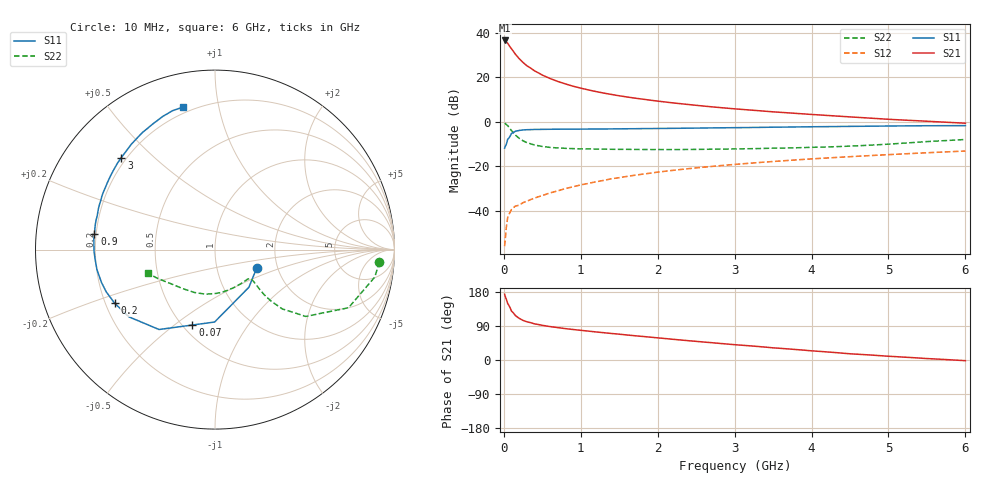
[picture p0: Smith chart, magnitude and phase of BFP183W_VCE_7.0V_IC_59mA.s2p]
! Infineon Technologies  Discrete & RF Semiconductors
! BFP183W
! VCE =  7.0 V,  IC =  59 mA
! Common Emitter S-Parameters:  Jan 2017
# GHz  S  MA  R  50
!  f  S11  S21  S12  S22
! GHz  MAG  ANG  MAG  ANG  MAG  ANG  MAG  ANG
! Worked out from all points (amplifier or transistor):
!   77 points, 10 MHz to 6 GHz, reference 50 ohm
!   highest |S21| = 36.4 dB at 10 MHz (marker M1)
!   |S21| within 3 dB of that: start of sweep to 83.63 MHz
!   unconditionally stable (mu >= 1): 534.8 MHz to 3.465 GHz
!   at 130 MHz: K = 0.44, MSG = 34.9 dB, |S12| = -38.5 dB
!   at 2.2 GHz: K = 1.09, MAG = 13.3 dB, |S12| = -21.9 dB
!   at 6 GHz: K = 0.85, MSG = 6.2 dB, |S12| = -13.2 dB
!   S11 on the Smith chart (normalised r, x): 10 MHz: 1.56, -0.34; 70 MHz: 0.56, -0.58; 200 MHz: 0.24, -0.24; 900 MHz: 0.19, +0.06; 3 GHz: 0.18, +0.40; 6 GHz: 0.17, +0.79
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0.01  0.254 -24.0  66.37 173.6  0.0016 81.7  0.919 -4.3
0.02  0.2823 -47.9  64.8 166.6  0.0024 86.2  0.9031 -9.8
0.05  0.4035 -90.3  57.33 149.1  0.007 66.0  0.8116 -23.5
0.07  0.4387 -106.7  50.88 142.4  0.0085 62.0  0.7338 -27.9
0.1  0.5436 -125.0  42.98 128.9  0.0107 58.0  0.6276 -36.4
0.15  0.6086 -142.0  32.62 117.3  0.0127 48.4  0.4998 -41.4
0.2  0.6339 -151.9  25.82 109.8  0.0133 51.2  0.4213 -42.6
0.25  0.6502 -158.8  21.25 104.5  0.0152 51.0  0.3708 -42.5
0.3  0.6583 -163.8  17.97 100.8  0.0164 50.9  0.3368 -41.8
0.4  0.6672 -170.4  13.76 95.3  0.0193 55.5  0.2978 -40.4
0.5  0.6701 -175.3  11.08 91.5  0.0219 58.8  0.277 -39.5
0.6  0.6738 -179.0  9.299 88.2  0.0251 61.7  0.2638 -39.2
0.7  0.675 178.0  7.99 85.5  0.0279 63.8  0.2563 -39.3
0.9  0.6771 172.6  6.24 80.5  0.0345 65.9  0.2478 -41.2
1.1  0.6813 168.2  5.145 76.2  0.0411 67.9  0.2441 -43.6
1.5  0.6889 160.3  3.801 68.1  0.0552 68.2  0.2385 -50.5
2.1  0.7038 149.4  2.756 56.6  0.077 67.2  0.2361 -64.3
3  0.7316 135.5  1.935 40.4  0.1094 62.4  0.2443 -88.6
3.1  0.7343 134.1  1.877 38.9  0.113 61.8  0.2451 -91.3
4.1  0.7695 120.7  1.413 22.8  0.1491 55.3  0.267 -118.5
5.1  0.7992 110.5  1.105 8.8  0.1851 48.4  0.3202 -145.1
6  0.8135 102.6  0.921 -1.8  0.2187 41.5  0.3971 -160.6
